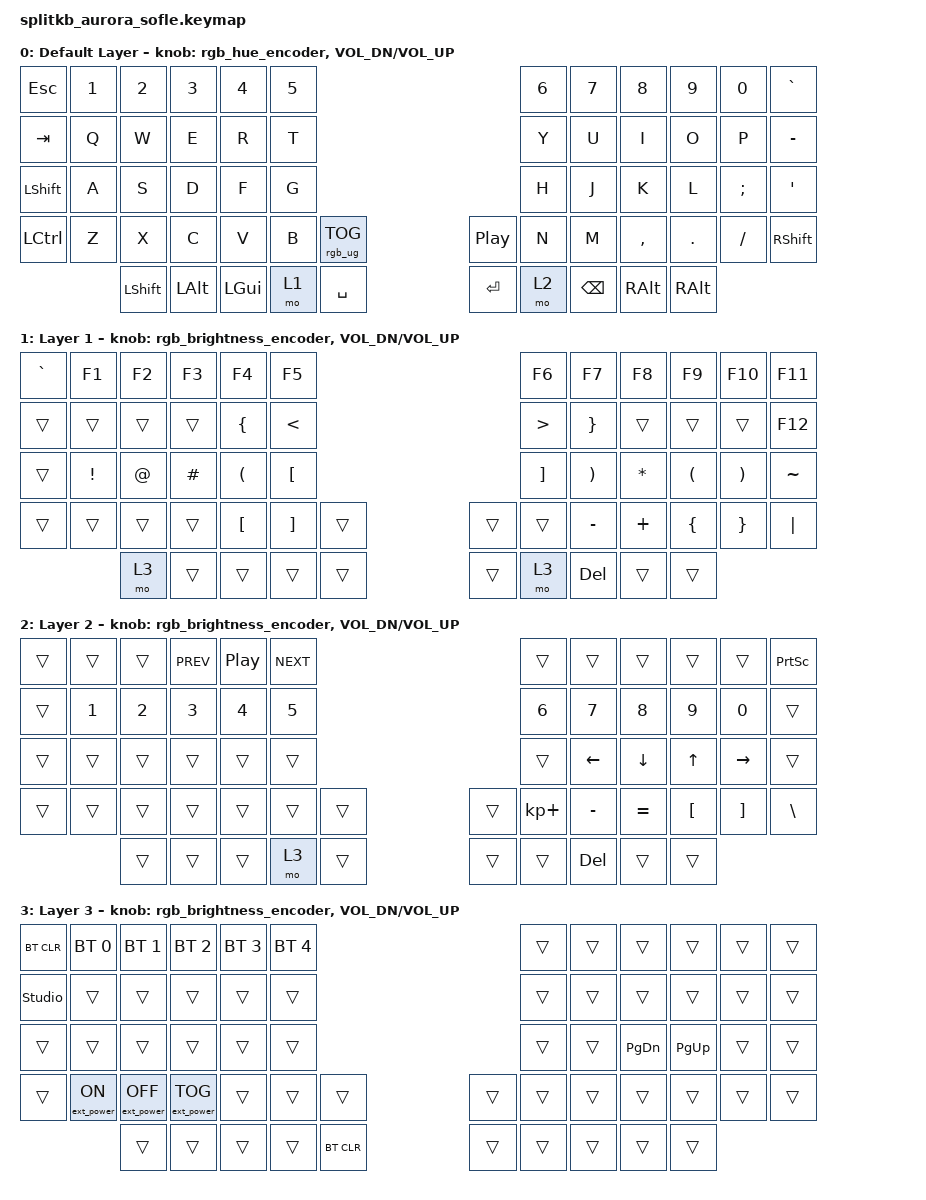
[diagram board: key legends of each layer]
/*
 * Copyright (c) 2023 The ZMK Contributors
 *
 * SPDX-License-Identifier: MIT
 */

#include <behaviors.dtsi>
#include <dt-bindings/zmk/keys.h>
#include <dt-bindings/zmk/bt.h>
#include <dt-bindings/zmk/ext_power.h>
#include <dt-bindings/zmk/rgb.h>

// Uncomment this block if using RGB
&led_strip {
    // chain-length = <6>; // Uncomment if using only underglow LEDs
    chain-length = <35>; // Uncomment if using both per-key and underglow LEDs
    // chain-length = <29>; // Uncomment if using only per-key LEDs.
};

/* Override CS GPIO for nice!view */
&nice_view_spi {
    // cs-gpios = <&gpio1 1 GPIO_ACTIVE_LOW>;   /* P1.01 == 101 */
    cs-gpios = <&gpio1 1 GPIO_ACTIVE_HIGH>;   /* P1.01 == 101 */
};

/ {

    behaviors {
        rgb_brightness_encoder: rgb_brightness_encoder {
            compatible = "zmk,behavior-sensor-rotate";
            #sensor-binding-cells = <0>;
            bindings = <&rgb_ug RGB_BRD>, <&rgb_ug RGB_BRI>; 
        };
        rgb_hue_encoder: rgb_hue_encoder {
            compatible = "zmk,behavior-sensor-rotate";
            #sensor-binding-cells = <0>;
            bindings = <&rgb_ug RGB_HUD>, <&rgb_ug RGB_HUI>;
        };
    };

    keymap {
        compatible = "zmk,keymap";

        default_layer {
            display-name = "Default Layer";
// ------------------------------------------------------------------------------------------------------------
// |  ESC   |  1   |  2   |  3   |  4   |  5   | /*NK*/ |  | /*NK*/|  6   |  7    |  8    |  9   |   0   |   `   |
// |  TAB   |  Q   |  W   |  E   |  R   |  T   | /*NK*/ |  | /*NK*/|  Y   |  U    |  I    |  O   |   P   |   -   |
// |  SHIFT |  A   |  S   |  D   |  F   |  G   | /*NK*/ |  | /*NK*/|  H   |  J    |  K    |  L   |   ;   |   '   |
// |  CTRL  |  Z   |  X   |  C   |  V   |  B   | RGB_TOG|  | PLAY  |  N   |  M    |  ,    |  .   |   /   | SHIFT |
// | /*NK*/ |/*NK*/|SHIFT | ALT  | GUI  |LAYER1|  SPACE |  | ENTER |LAYER2| BSPC  | RALT  | RALT |/*NK*/ |/*NK*/ |
            bindings = <
&kp ESC   &kp N1 &kp N2    &kp N3   &kp N4   &kp N5 /*NK*/           /* */  /*NK*/           &kp N6 &kp N7   &kp N8    &kp N9   &kp N0   &kp GRAVE
&kp TAB   &kp Q  &kp W     &kp E    &kp R    &kp T  /*NK*/           /* */  /*NK*/           &kp Y  &kp U    &kp I     &kp O    &kp P    &kp MINUS
&kp LSHFT &kp A  &kp S     &kp D    &kp F    &kp G  /*NK*/           /* */  /*NK*/           &kp H  &kp J    &kp K     &kp L    &kp SEMI &kp SQT
&kp LCTRL &kp Z  &kp X     &kp C    &kp V    &kp B  &rgb_ug RGB_TOG  /* */  &kp C_PLAY_PAUSE &kp N  &kp M    &kp COMMA &kp DOT  &kp FSLH &kp RSHFT
/*NK*/    /*NK*/ &kp LSHFT &kp LALT &kp LGUI &mo 1  &kp SPACE        /* */  &kp RET          &mo 2  &kp BSPC &kp RALT  &kp RALT /*NK*/   /*NK*/
            >;

            sensor-bindings = <&rgb_hue_encoder    &inc_dec_kp C_VOL_DN C_VOL_UP>;
        };

        layer_1 {
            display-name = "Layer 1";
// ------------------------------------------------------------------------------------------------------------
// | GRAVE  | F1   | F2   |  F3  |  F4  |  F5  | /*NK*/ |  | /*NK*/|  F6  |  F7   |  F8   |  F9  |  F10  |  F11  |
// |        |      |      |      |  {   |  <   | /*NK*/ |  | /*NK*/|  >   |  }    |       |      |       |  F12  |
// |        |  !   |  @   |  #   |  (   |  [   | /*NK*/ |  | /*NK*/|  ]   |  )    |  *    |  (   |   )   |   ~   |
// |        |      |      |      |  [   |  ]   |        |  |       |      |  -    |  +    |  {   |   }   |  "|"|  |
// | /*NK*/ |/*NK*/| mo3  |      |      |      |        |  |       | mo3  | DEL   |       |      |/*NK*/ |/*NK*/ |
            bindings = <
&kp GRAVE   &kp F1              &kp F2              &kp F3              &kp F4          &kp F5          /*NK*/  /* */  /*NK*/    &kp F6     &kp F7      &kp F8      &kp F9      &kp F10     &kp F11
&trans      &trans              &trans              &trans              &kp LBRC        &kp LT          /*NK*/  /* */  /*NK*/    &kp GT     &kp RBRC    &trans      &trans      &trans      &kp F12
&trans      &kp EXCL            &kp AT              &kp HASH            &kp LPAR        &kp LBKT        /*NK*/  /* */  /*NK*/    &kp RBKT   &kp RPAR    &kp STAR    &kp LPAR    &kp RPAR    &kp TILDE
&trans      &trans              &trans              &trans              &kp LBKT        &kp RBKT        &trans  /* */  &trans    &trans     &kp MINUS   &kp PLUS    &kp LBRC    &kp RBRC    &kp PIPE
/*NK*/      /*NK*/              &mo 3               &trans              &trans          &trans          &trans  /* */  &trans    &mo 3      &kp DEL     &trans      &trans      /*NK*/      /*NK*/ 
            >;

            sensor-bindings = <&rgb_brightness_encoder    &inc_dec_kp C_VOL_DN C_VOL_UP>;
        };

        layer_2 {
            display-name = "Layer 2";
// ------------------------------------------------------------------------------------------------------------
// |        |      |      | PREV |  PP  | NEXT | /*NK*/ |  | /*NK*/|      |       |       |      |       | PSCRN |
// |        |  1   |  2   |  3   |  4   |  5   | /*NK*/ |  | /*NK*/|  6   |   7   |   8   |  9   |   0   |       |
// |        |      |      |      |      |      | /*NK*/ |  | /*NK*/|      |   <-  |   v   |  ^   |  ->   |       |
// |        |      |      |      |      |      |        |  |       |  +   |   -   |   =   |  [   |   ]   |   \   |
// | /*NK*/ |/*NK*/|      |      |      | mo3  |        |  |       |      | DEL   |       |      |/*NK*/ |/*NK*/ |
            bindings = <
&trans      &trans  &trans &kp C_PREV &kp C_PP &kp C_NEXT  /*NK*/  /* */  /*NK*/    &trans       &trans    &trans    &trans   &trans    &kp PSCRN
&trans      &kp N1  &kp N2 &kp N3     &kp N4   &kp N5      /*NK*/  /* */  /*NK*/    &kp N6       &kp N7    &kp N8    &kp N9   &kp N0    &trans
&trans      &trans  &trans &trans     &trans   &trans      /*NK*/  /* */  /*NK*/    &trans       &kp LEFT  &kp DOWN  &kp UP   &kp RIGHT &trans
&trans      &trans  &trans &trans     &trans   &trans      &trans  /* */  &trans    &kp KP_PLUS  &kp MINUS &kp EQUAL &kp LBKT &kp RBKT  &kp BSLH
/*NK*/      /*NK*/  &trans &trans     &trans   &mo 3       &trans  /* */  &trans    &trans       &kp DEL   &trans    &trans   /*NK*/    /*NK*/ 
            >;

            sensor-bindings = <&rgb_brightness_encoder    &inc_dec_kp C_VOL_DN C_VOL_UP>;
        };

        layer_3 {
            display-name = "Layer 3";
// ------------------------------------------------------------------------------------------------------------
// | BT_CLR | BT0  | BT1 |  BT2 |  BT3 |  BT4 | /*NK*/ |  | /*NK*/|      |       |       |       |       |       |
// | UNLOCK |      |     |      |      |      | /*NK*/ |  | /*NK*/|      |       |       |       |       |       |
// |        |      |     |      |      |      | /*NK*/ |  | /*NK*/|      |       | PG_DN | PG_UP |       |       |
// |        |EP_ON |EP_OF|EP_TOG|      |      |        |  |       |      |       |       |       |       |       |
// | /*NK*/ |/*NK*/|     |      |      |      | BT_CLR |  |       |      |       |       |       |/*NK*/ |/*NK*/ |
            bindings = <
&bt BT_CLR      &bt BT_SEL 0        &bt BT_SEL 1        &bt BT_SEL 2        &bt BT_SEL 3    &bt BT_SEL 4    /*NK*/      /* */  /*NK*/    &trans     &trans     &trans     &trans    &trans  &trans
&studio_unlock  &trans              &trans              &trans              &trans          &trans          /*NK*/      /* */  /*NK*/    &trans     &trans     &trans     &trans    &trans  &trans
&trans          &trans              &trans              &trans              &trans          &trans          /*NK*/      /* */  /*NK*/    &trans     &trans     &kp PG_DN  &kp PG_UP &trans  &trans
&trans          &ext_power EP_ON    &ext_power EP_OFF   &ext_power EP_TOG   &trans          &trans          &trans      /* */  &trans    &trans     &trans     &trans     &trans    &trans  &trans
/*NK*/          /*NK*/              &trans              &trans              &trans          &trans          &bt BT_CLR  /* */  &trans    &trans     &trans     &trans     &trans    /*NK*/  /*NK*/ 
            >;

            sensor-bindings = <&rgb_brightness_encoder    &inc_dec_kp C_VOL_DN C_VOL_UP>;
        };
    };
};

// &bt BT_CLR &bt BT_SEL 0     &bt BT_SEL 1      &bt BT_SEL 2      &bt BT_SEL 3   &bt BT_SEL 4
